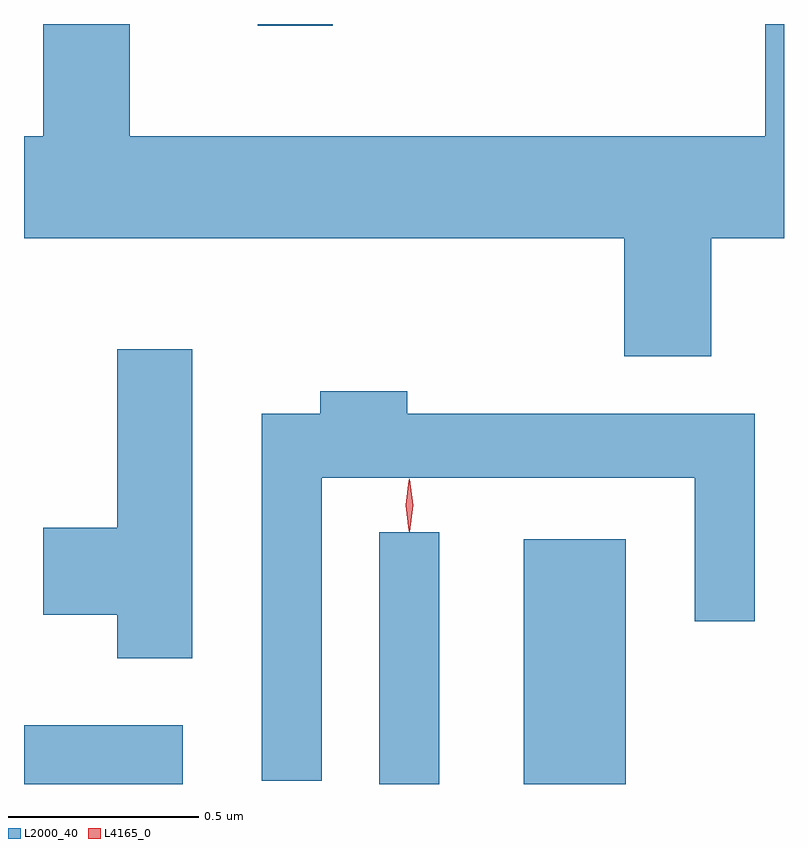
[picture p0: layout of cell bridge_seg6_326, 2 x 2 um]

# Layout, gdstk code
import gdstk
lib = gdstk.Library(unit=1e-6, precision=1e-09)
def R(c, l, rs):  # rectangles x0, y0, x1, y1
    for r in rs: c.add(gdstk.rectangle(r[:2], r[2:], *l))
def P(c, l, *ps):  # polygons
    for p in ps: c.add(gdstk.Polygon(p, *l))
L2000_40 = (2000, 40)
L4165_0 = (4165, 0)

bridge_seg6_326 = lib.new_cell('bridge_seg6_326')
R(bridge_seg6_326, L2000_40, [(1268.811,1555.26,1269.229,1555.414), (1269.746,1555.26,1269.904,1555.923), (1270.126,1555.26,1270.394,1555.904), (1269.426,1557.256,1269.624,1557.26)])
P(bridge_seg6_326, L2000_40, [(1270.619,1556.696),(1270.811,1556.696),(1270.811,1557.26),(1270.761,1557.26),(1270.761,1556.964),(1269.089,1556.964),(1269.089,1557.26),(1268.861,1557.26),(1268.861,1556.964),(1268.811,1556.964),(1268.811,1556.696),(1270.391,1556.696),(1270.391,1556.386),(1270.619,1556.386)],
  [(1269.254,1556.404),(1269.056,1556.404),(1269.056,1555.934),(1268.861,1555.934),(1268.861,1555.706),(1269.056,1555.706),(1269.056,1555.591),(1269.254,1555.591)],
  [(1269.594,1556.066),(1270.576,1556.066),(1270.576,1555.688),(1270.734,1555.688),(1270.734,1556.234),(1269.819,1556.234),(1269.819,1556.294),(1269.591,1556.294),(1269.591,1556.234),(1269.436,1556.234),(1269.436,1555.268),(1269.594,1555.268)])
P(bridge_seg6_326, L4165_0, [(1269.825,1555.924),(1269.825,1555.924),(1269.815,1555.993),(1269.825,1556.062),(1269.825,1556.063),(1269.826,1556.062),(1269.835,1555.993),(1269.826,1555.924)],
  [(1269.824,1555.927),(1269.815,1555.994),(1269.824,1556.06),(1269.825,1556.061),(1269.825,1556.06),(1269.835,1555.994),(1269.825,1555.927),(1269.825,1555.927)])

lib.write_gds('bridge_seg6_326.gds')
